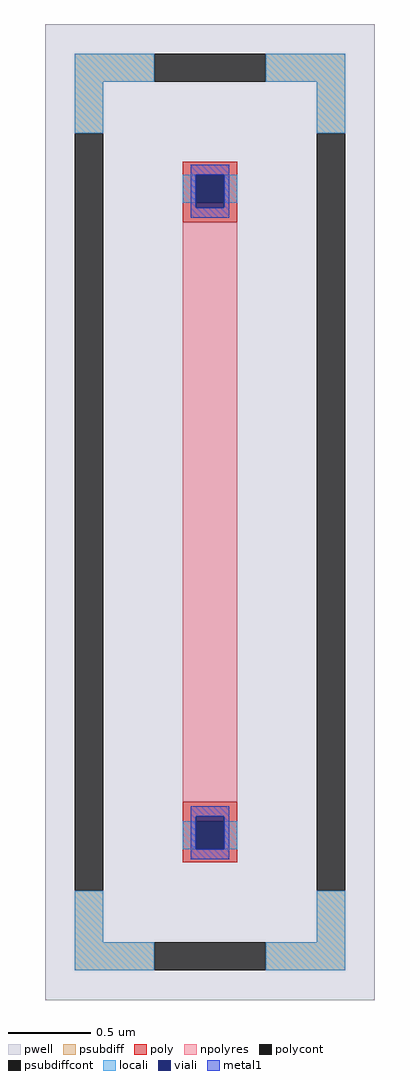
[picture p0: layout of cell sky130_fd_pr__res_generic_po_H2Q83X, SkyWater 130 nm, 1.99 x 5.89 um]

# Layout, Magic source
magic
tech sky130B
magscale 1 2
<< pwell >>
rect -199 -589 199 589
<< psubdiff >>
rect -163 519 -67 553
rect 67 519 163 553
rect -163 457 -129 519
rect 129 457 163 519
rect -163 -519 -129 -457
rect 129 -519 163 -457
rect -163 -553 -67 -519
rect 67 -553 163 -519
<< psubdiffcont >>
rect -67 519 67 553
rect -163 -457 -129 457
rect 129 -457 163 457
rect -67 -553 67 -519
<< poly >>
rect -33 407 33 423
rect -33 373 -17 407
rect 17 373 33 407
rect -33 350 33 373
rect -33 -373 33 -350
rect -33 -407 -17 -373
rect 17 -407 33 -373
rect -33 -423 33 -407
<< polycont >>
rect -17 373 17 407
rect -17 -407 17 -373
<< npolyres >>
rect -33 -350 33 350
<< locali >>
rect -163 519 -67 553
rect 67 519 163 553
rect -163 457 -129 519
rect 129 457 163 519
rect -33 373 -17 407
rect 17 373 33 407
rect -33 -407 -17 -373
rect 17 -407 33 -373
rect -163 -519 -129 -457
rect 129 -519 163 -457
rect -163 -553 -67 -519
rect 67 -553 163 -519
<< viali >>
rect -17 373 17 407
rect -17 367 17 373
rect -17 -373 17 -367
rect -17 -407 17 -373
<< metal1 >>
rect -23 407 23 419
rect -23 367 -17 407
rect 17 367 23 407
rect -23 355 23 367
rect -23 -367 23 -355
rect -23 -407 -17 -367
rect 17 -407 23 -367
rect -23 -419 23 -407
<< properties >>
string FIXED_BBOX -146 -536 146 536
string gencell sky130_fd_pr__res_generic_po
string library sky130
string parameters w 0.330 l 3.5 m 1 nx 1 wmin 0.330 lmin 1.650 rho 48.2 val 511.212 dummy 0 dw 0.0 term 0.0 sterm 0.0 caplen 0.4 snake 0 guard 1 glc 1 grc 1 gtc 1 gbc 1 roverlap 0 endcov 100 full_metal 1 hv_guard 0 n_guard 0 vias 1 viagb 0 viagt 0 viagl 0 viagr 0
<< end >>
